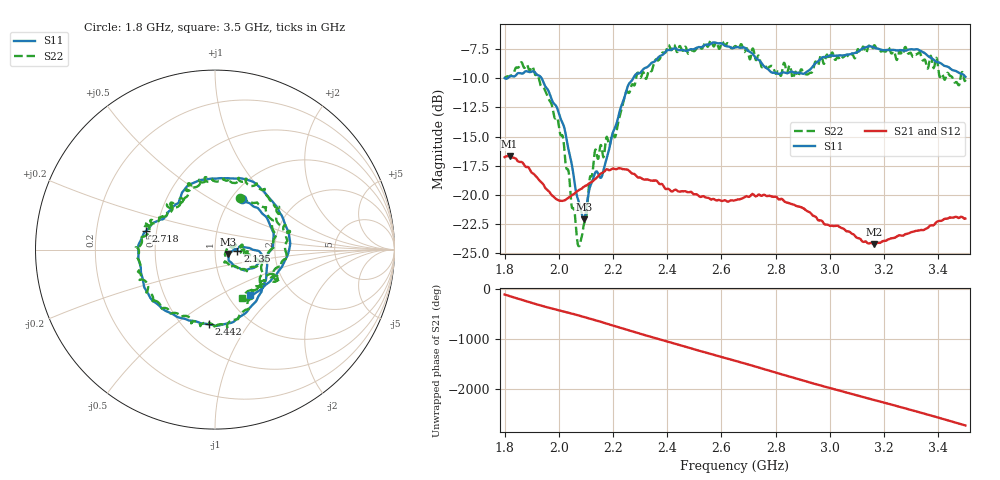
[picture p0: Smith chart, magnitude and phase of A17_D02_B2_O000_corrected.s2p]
! Created with skrf 1.9.0 (http://scikit-rf.org).
# Hz S RI R 50.0
!freq ReS11 ImS11 ReS21 ImS21 ReS12 ImS12 ReS22 ImS22
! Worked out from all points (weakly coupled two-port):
!   1601 points, 1.8 GHz to 3.5 GHz, reference 50 ohm
!   highest |S21| = -16.68 dB at 1.818 GHz (marker M1); lowest = -24.3 dB at 3.163 GHz (marker M2)
!   lowest |S11| = -22.1 dB at 2.092 GHz (marker M3), VSWR 1.17, Z = 58 - j2.86 ohm
!   |S11| at or under -10 dB: 1.801 GHz to 1.812 GHz (10.86 MHz wide, 0.601 % of centre); 1.936 GHz to 2.275 GHz (338.4 MHz wide, 16.1 % of centre)
!   |S22| runs from -24.4 to -6.8 dB; largest |S21 - S12| = 0.0025
!   S11 on the Smith chart (normalised r, x): 1.8 GHz: 1.12, +0.70; 2.135 GHz: 1.28, -0.01; 2.442 GHz: 0.67, -0.67; 2.718 GHz: 0.44, +0.11; 3.5 GHz: 1.27, -0.71
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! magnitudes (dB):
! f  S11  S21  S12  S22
! 1.8 GHz  -10.0  -16.8  -16.8  -10.0
! 1.818 GHz  -9.9  -16.7  -16.7  -9.8
! 1.902 GHz  -9.4  -18.1  -18.1  -9.0
! 1.967 GHz  -11.4  -19.8  -19.9  -12.0
! 2.02 GHz  -14.2  -20.5  -20.5  -16.0
! 2.07 GHz  -20.3  -19.7  -19.7  -24.2
! 2.084 GHz  -21.5  -19.5  -19.4  -23.7
! 2.092 GHz  -22.1  -19.3  -19.4  -22.6
! 2.135 GHz  -18.1  -18.6  -18.6  -16.1
! 2.161 GHz  -18.2  -18.1  -18.0  -16.4
! 2.209 GHz  -14.1  -17.8  -17.7  -15.0
! 2.259 GHz  -10.5  -17.9  -17.9  -11.3
! 2.367 GHz  -8.2  -19.0  -18.9  -8.5
! 2.442 GHz  -7.6  -19.7  -19.7  -7.5
! 2.65 GHz  -7.4  -20.5  -20.4  -7.2
! 2.718 GHz  -8.0  -20.0  -19.9  -7.5
! 2.79 GHz  -9.5  -20.2  -20.2  -9.1
! 2.934 GHz  -9.1  -21.7  -21.7  -9.5
! 3.163 GHz  -7.4  -24.3  -24.2  -7.2
! 3.217 GHz  -7.6  -23.8  -23.8  -7.4
! 3.327 GHz  -7.6  -23.1  -23.0  -7.8
! 3.5 GHz  -9.9  -22.0  -22.0  -10.1
